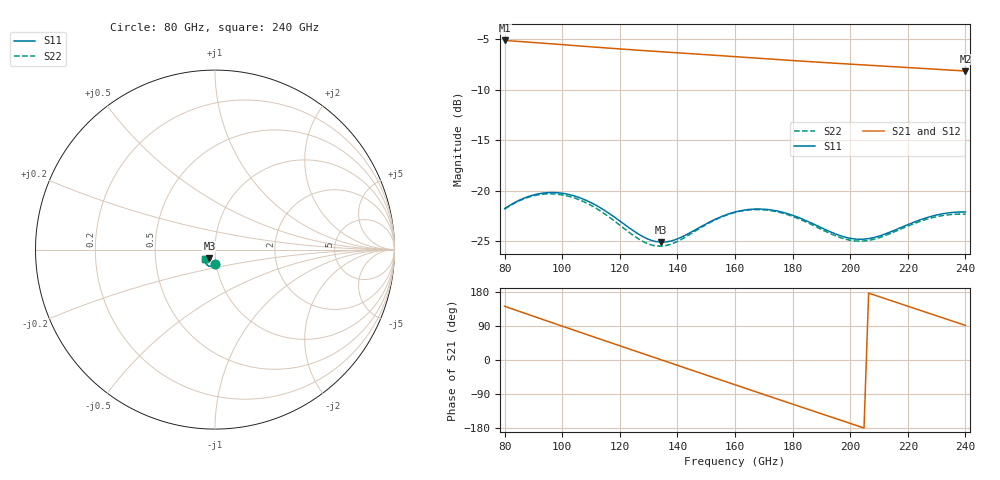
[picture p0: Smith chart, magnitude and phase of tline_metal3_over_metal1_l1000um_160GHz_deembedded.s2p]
! Created with skrf 2.2.0 (http://scikit-rf.org).
# GHz S DB R 50.0
! Port[1] = P1
! Port[2] = P2
!freq dBS11 angS11 dBS21 angS21 dBS12 angS12 dBS22 angS22
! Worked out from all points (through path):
!   101 points, 80 GHz to 240 GHz, reference 50 ohm
!   highest |S21| = -5.10 dB at 80 GHz (marker M1); lowest = -8.1 dB at 240 GHz (marker M2)
!   group delay of S21, straight-line fit = 7.12 ps
!   lowest |S11| = -25.1 dB at 134.4 GHz (marker M3), VSWR 1.12, Z = 46.8 - j4.32 ohm
!   |S11| at or under -10 dB: start of sweep to end of sweep
!   |S22| runs from -25.5 to -20.3 dB; largest |S21 - S12| = 6.4e-14
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80  -21.79 -91.8  -5.10 141.7  -5.10 141.7  -21.84 -90.3
88  -20.61 -99.2  -5.26 120.7  -5.26 120.7  -20.68 -98.2
94.4  -20.22 -107.6  -5.39 104.0  -5.39 104.0  -20.33 -106.8
100.8  -20.30 -116.4  -5.53 87.2  -5.53 87.2  -20.47 -115.9
107.2  -20.83 -124.6  -5.67 70.6  -5.67 70.6  -21.07 -124.1
113.6  -21.77 -131.0  -5.81 54.0  -5.81 54.0  -22.09 -130.4
121.6  -23.35 -134.2  -5.97 33.4  -5.97 33.4  -23.78 -133.1
128  -24.57 -131.2  -6.10 16.9  -6.10 16.9  -25.05 -129.2
134.4  -25.12 -124.0  -6.22 0.4  -6.22 0.4  -25.52 -120.9
145.6  -23.99 -114.6  -6.43 -28.4  -6.43 -28.4  -24.12 -111.5
153.6  -22.79 -116.1  -6.58 -49.0  -6.58 -49.0  -22.84 -113.7
160  -22.13 -120.6  -6.70 -65.4  -6.70 -65.4  -22.17 -118.6
166.4  -21.84 -126.3  -6.83 -81.8  -6.83 -81.8  -21.89 -124.8
172.8  -21.93 -132.2  -6.95 -98.1  -6.95 -98.1  -22.00 -130.9
179.2  -22.37 -137.2  -7.07 -114.4  -7.07 -114.4  -22.48 -136.1
187.2  -23.31 -140.5  -7.22 -134.8  -7.22 -134.8  -23.46 -139.6
195.2  -24.34 -139.1  -7.36 -155.1  -7.36 -155.1  -24.52 -138.0
201.6  -24.80 -134.4  -7.47 -171.3  -7.47 -171.3  -24.99 -133.2
208  -24.67 -129.0  -7.58 172.4  -7.58 172.4  -24.84 -127.8
214.4  -24.05 -125.6  -7.69 156.2  -7.69 156.2  -24.20 -124.4
227.2  -22.63 -127.4  -7.91 123.7  -7.91 123.7  -22.79 -126.7
240  -22.12 -135.3  -8.13 91.3  -8.13 91.3  -22.34 -135.0
